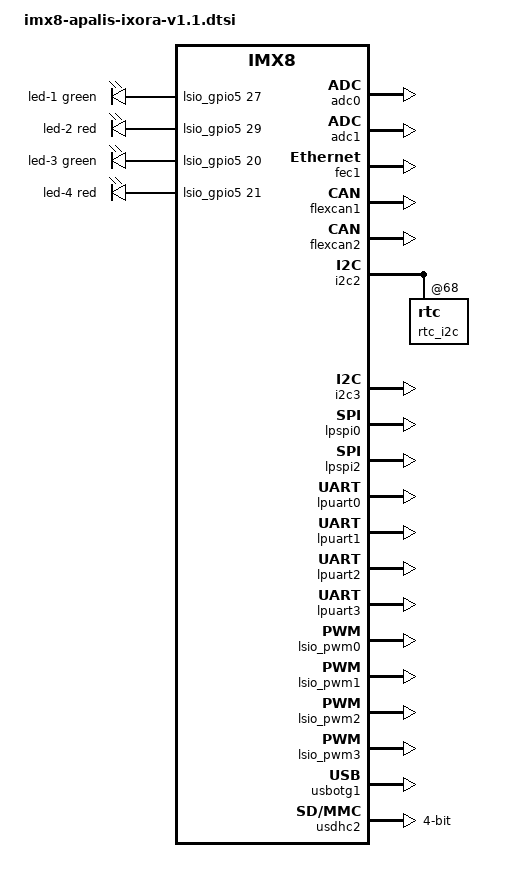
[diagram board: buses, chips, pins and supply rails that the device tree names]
// SPDX-License-Identifier: GPL-2.0-or-later OR MIT
/*
 * Copyright 2022 Toradex
 */

#include <dt-bindings/leds/common.h>

/ {
	aliases {
		rtc0 = &rtc_i2c;
		rtc1 = &rtc;
	};

	leds {
		compatible = "gpio-leds";
		pinctrl-names = "default";
		pinctrl-0 = <&pinctrl_leds_ixora>;

		/* LED_4_GREEN / MXM3_188 */
		led-1 {
			color = <LED_COLOR_ID_GREEN>;
			default-state = "off";
			function = LED_FUNCTION_STATUS;
			gpios = <&lsio_gpio5 27 GPIO_ACTIVE_HIGH>;
		};

		/* LED_4_RED / MXM3_178 */
		led-2 {
			color = <LED_COLOR_ID_RED>;
			default-state = "off";
			function = LED_FUNCTION_STATUS;
			gpios = <&lsio_gpio5 29 GPIO_ACTIVE_HIGH>;
		};

		/* LED_5_GREEN / MXM3_152 */
		led-3 {
			color = <LED_COLOR_ID_GREEN>;
			default-state = "off";
			function = LED_FUNCTION_STATUS;
			gpios = <&lsio_gpio5 20 GPIO_ACTIVE_HIGH>;
		};

		/* LED_5_RED / MXM3_156 */
		led-4 {
			color = <LED_COLOR_ID_RED>;
			default-state = "off";
			function = LED_FUNCTION_STATUS;
			gpios = <&lsio_gpio5 21 GPIO_ACTIVE_HIGH>;
		};
	};

	reg_usb_host_vbus: regulator-usb-host-vbus {
		regulator-name = "VCC_USBH(2|4)";
	};
};

&adc0 {
	status = "okay";
};

&adc1 {
	status = "okay";
};

/* TODO: Audio Mixer */

/* TODO: Asynchronous Sample Rate Converter (ASRC) */

/* TODO: Display Controller */

/* TODO: DPU */

/* Apalis ETH1 */
&fec1 {
	status = "okay";
};

/* Apalis CAN1 */
&flexcan1 {
	status = "okay";
};

/* Apalis CAN2 */
&flexcan2 {
	status = "okay";
};

/* TODO: GPU */

/* Apalis I2C1 */
&i2c2 {
	status = "okay";

	/* M41T0M6 real time clock on carrier board */
	rtc_i2c: rtc@68 {
		status = "okay";
	};
};

/* Apalis I2C3 (CAM) */
&i2c3 {
	status = "okay";
};

&iomuxc {
	pinctrl-0 = <&pinctrl_cam1_gpios>, <&pinctrl_dap1_gpios>,
		    <&pinctrl_esai0_gpios>, <&pinctrl_fec2_gpios>,
		    <&pinctrl_gpio3>, <&pinctrl_gpio4>, <&pinctrl_gpio_usbh_oc_n>,
		    <&pinctrl_lpuart1ctrl>, <&pinctrl_lvds0_i2c0_gpio>,
		    <&pinctrl_lvds1_i2c0_gpios>, <&pinctrl_mipi_dsi_0_1_en>,
		    <&pinctrl_mipi_dsi1_gpios>, <&pinctrl_mlb_gpios>,
		    <&pinctrl_qspi1a_gpios>, <&pinctrl_sata1_act>,
		    <&pinctrl_sim0_gpios>, <&pinctrl_uart24_forceoff>,
		    <&pinctrl_usdhc1_gpios>;

	pinctrl_leds_ixora: ledsixoragrp {
		fsl,pins = <IMX8QM_USDHC2_DATA1_LSIO_GPIO5_IO27	0x06000061>, /* LED_4_GREEN */
			   <IMX8QM_USDHC2_DATA3_LSIO_GPIO5_IO29	0x06000061>, /* LED_4_RED */
			   <IMX8QM_USDHC1_DATA5_LSIO_GPIO5_IO20	0x06000061>, /* LED_5_GREEN */
			   <IMX8QM_USDHC1_DATA6_LSIO_GPIO5_IO21	0x06000061>; /* LED_5_RED */
	};

	pinctrl_uart24_forceoff: uart24forceoffgrp {
		fsl,pins = <IMX8QM_USDHC2_CMD_LSIO_GPIO5_IO25		0x00000021>;
	};
};

/* Apalis SPI1 */
&lpspi0 {
	status = "okay";
};

/* Apalis SPI2 */
&lpspi2 {
	status = "okay";
};

/* Apalis UART3 */
&lpuart0 {
	status = "okay";
};

/* Apalis UART1 */
&lpuart1 {
	status = "okay";
};

/* Apalis UART4 */
&lpuart2 {
	status = "okay";
};

/* Apalis UART2 */
&lpuart3 {
	status = "okay";
};

&lsio_gpio5 {
	gpio-line-names = "gpio5-00", "gpio5-01", "gpio5-02", "gpio5-03",
			  "gpio5-04", "gpio5-05", "gpio5-06", "gpio5-07",
			  "gpio5-08", "gpio5-09", "gpio5-10", "gpio5-11",
			  "gpio5-12", "gpio5-13", "gpio5-14", "gpio5-15",
			  "gpio5-16", "gpio5-17", "gpio5-18", "gpio5-19",
			  "LED-5-GREEN", "LED-5-RED", "gpio5-22", "gpio5-23",
			  "gpio5-24", "UART24-FORCEOFF", "gpio5-26",
			  "LED-4-GREEN", "gpio5-28", "LED-4-RED", "gpio5-30",
			  "gpio5-31";
	ngpios = <32>;
};

/* Apalis PWM3, MXM3 pin 6 */
&lsio_pwm0 {
	status = "okay";
};

/* Apalis PWM4, MXM3 pin 8 */
&lsio_pwm1 {
	status = "okay";
};

/* Apalis PWM1, MXM3 pin 2 */
&lsio_pwm2 {
	status = "okay";
};

/* Apalis PWM2, MXM3 pin 4 */
&lsio_pwm3 {
	status = "okay";
};

/* TODO: Apalis PCIE1 */

/* TODO: Apalis BKL1_PWM */

/* TODO: Apalis DAP1 */

/* TODO: Apalis Analogue Audio */

/* TODO: Apalis SATA1 */

/* TODO: Apalis SPDIF1 */

/* TODO: Apalis USBH2, Apalis USBH3 and on-module Wi-Fi via on-module HSIC Hub */

/* Apalis USBO1 */
&usbotg1 {
	status = "okay";
};

/* TODO: Apalis USBH4 SuperSpeed */

/* Apalis MMC1 */
&usdhc2 {
	pinctrl-0 = <&pinctrl_usdhc2_4bit>, <&pinctrl_mmc1_cd>;
	pinctrl-1 = <&pinctrl_usdhc2_4bit_100mhz>, <&pinctrl_mmc1_cd>;
	pinctrl-2 = <&pinctrl_usdhc2_4bit_200mhz>, <&pinctrl_mmc1_cd>;
	pinctrl-3 = <&pinctrl_usdhc2_4bit_sleep>, <&pinctrl_mmc1_cd_sleep>;
	bus-width = <4>;
	status = "okay";
};
